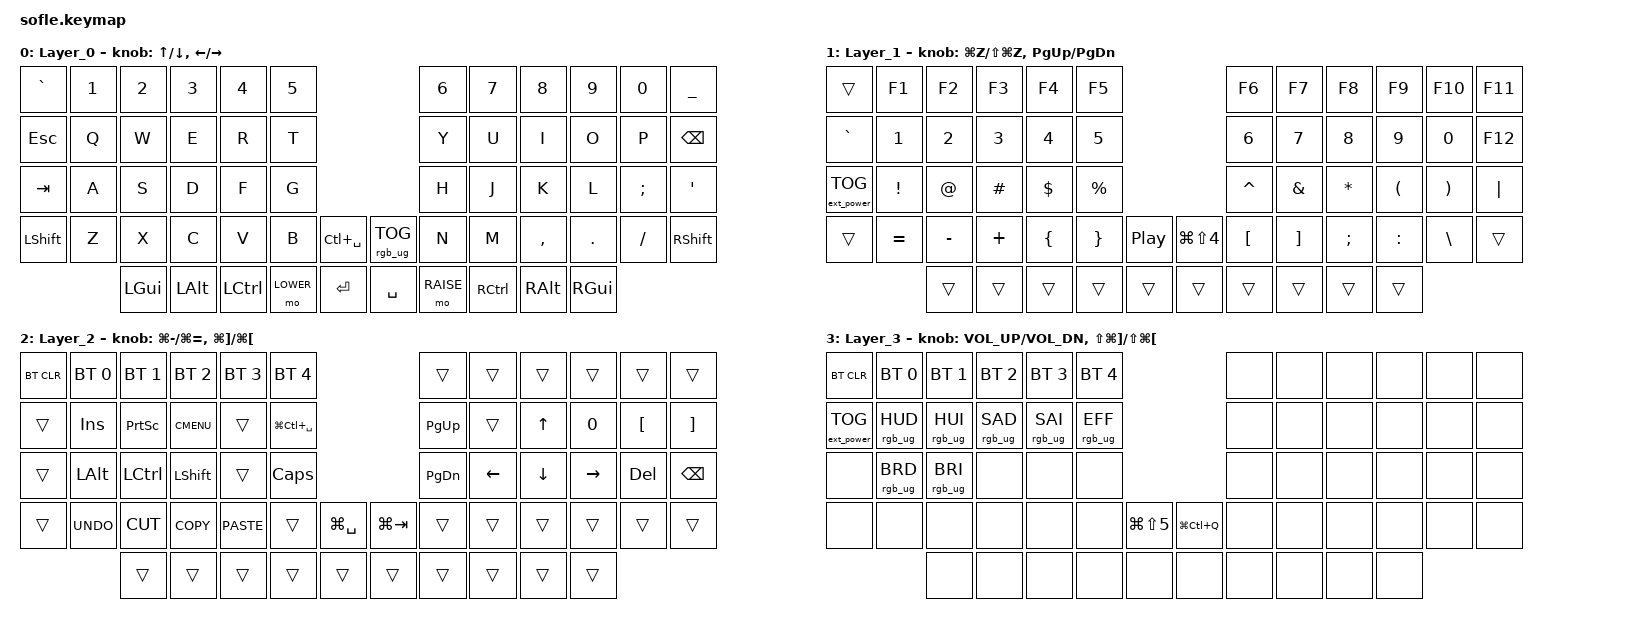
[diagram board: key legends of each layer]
/*
 * Copyright (c) 2020 The ZMK Contributors
 *
 * SPDX-License-Identifier: MIT
 */

#include <behaviors.dtsi>
#include <dt-bindings/zmk/bt.h>
#include <dt-bindings/zmk/ext_power.h>
#include <dt-bindings/zmk/keys.h>
#include <dt-bindings/zmk/rgb.h>

#define BASE 0
#define LOWER 1
#define RAISE 2
#define ADJUST 3

/ {
    // Activate ADJUST layer by pressing raise and lower

    conditional_layers {
        compatible = "zmk,conditional-layers";

        adjust_layer {
            if-layers = <LOWER RAISE>;
            then-layer = <ADJUST>;
        };
    };

    keymap {
        compatible = "zmk,keymap";

        default_layer {
            // ------------------------------------------------------------------------------------------------------------
            // |   `   |  1  |  2  |  3   |  4   |  5   |                   |  6   |  7    |  8    |  9   |   0   |  _    |
            // |  ESC  |  Q  |  W  |  E   |  R   |  T   |                   |  Y   |  U    |  I    |  O   |   P   | BKSPC |
            // |  TAB  |  A  |  S  |  D   |  F   |  G   |                   |  H   |  J    |  K    |  L   |   ;   |   '   |
            // | SHIFT |  Z  |  X  |  C   |  V   |  B   |  MUTE  |  |       |  N   |  M    |  ,    |  .   |   /   | SHIFT |
            //               | GUI | ALT  | CTRL | LOWER|  ENTER |  | SPACE | RAISE| CTRL  | ALT   | GUI  |
            display-name = "Layer_0";
            bindings = <
&kp GRAVE  &kp N1  &kp N2    &kp N3    &kp N4     &kp N5                                    &kp N6     &kp N7     &kp N8     &kp N9    &kp N0    &kp UNDER
&kp ESC    &kp Q   &kp W     &kp E     &kp R      &kp T                                     &kp Y      &kp U      &kp I      &kp O     &kp P     &kp BSPC
&kp TAB    &kp A   &kp S     &kp D     &kp F      &kp G                                     &kp H      &kp J      &kp K      &kp L     &kp SEMI  &kp SQT
&kp LSHFT  &kp Z   &kp X     &kp C     &kp V      &kp B      &kp LC(SPACE) &rgb_ug RGB_TOG  &kp N      &kp M      &kp COMMA  &kp DOT   &kp FSLH  &kp RSHFT
                   &kp LGUI  &kp LALT  &kp LCTRL  &mo LOWER  &kp RET       &kp SPACE        &mo RAISE  &kp RCTRL  &kp RALT   &kp RGUI
            >;

            sensor-bindings = <&inc_dec_kp UP DOWN &inc_dec_kp LEFT RIGHT>;
        };

        lower_layer {
            // TODO: Some binds are waiting for shifted keycode support.
            // ------------------------------------------------------------------------------------------------------------
            // |       |  F1 |  F2 |  F3  |  F4  |  F5  |                           |  F6  |  F7   |  F8   |  F9  |  F10  |  F11  |
            // |   `   |  1  |  2  |  3   |  4   |  5   |                           |  6   |  7    |  8    |  9   |   0   |  F12  |
            // |       |  !  |  @  |  #   |  $   |  %   |                           |  ^   |  &    |  *    |  (   |   )   |   |   |
            // |       |  =  |  -  |  +   |  {   |  }   | Play/Pause | ScreenShot   |  [   |  ]    |  ;    |  :   |   \   |       |
            //               |     |      |      |      |            |              |      |       |       |      |       |
            display-name = "Layer_1";
            bindings = <
&trans             &kp F1     &kp F2     &kp F3    &kp F4    &kp F5                       &kp F6     &kp F7    &kp F8     &kp F9     &kp F10   &kp F11
&kp GRAVE          &kp N1     &kp N2     &kp N3    &kp N4    &kp N5                       &kp N6     &kp N7    &kp N8     &kp N9     &kp N0    &kp F12
&ext_power EP_TOG  &kp EXCL   &kp AT     &kp HASH  &kp DLLR  &kp PRCNT                    &kp CARET  &kp AMPS  &kp ASTRK  &kp LPAR   &kp RPAR  &kp PIPE
&trans             &kp EQUAL  &kp MINUS  &kp PLUS  &kp LBRC  &kp RBRC   &kp C_PP    &kp LG(LS(N4))  &kp LBKT   &kp RBKT  &kp SEMI   &kp COLON  &kp BSLH  &trans
                              &trans     &trans    &trans    &trans     &trans    &trans  &trans     &trans    &trans     &trans
            >;

            sensor-bindings = <&inc_dec_kp LG(Z) LS(LG(Z)) &inc_dec_kp PG_UP PG_DN>;

        };

        raise_layer {
            // --------------------------------------------------------------------------------------------------------------------
            // | BTCLR | BT1  | BT2  |  BT3  |  BT4  |  BT5 |                        |      |      |       |      |       |       |
            // |       | INS  | PSCR | GUI   |       |      |                        | PGUP |      |   ^   |      |    [  |   ]   |
            // |       | ALT  | CTRL | SHIFT |       | CAPS |                        | PGDN |   <- |   v   |  ->  |  DEL  | BKSPC |
            // |       | UNDO | CUT  | COPY  | PASTE |      | SPOTLIGHT || APP SWTCH |      |      |       |      |       |       |
            //                |      |       |       |      |           ||           |      |      |       |      |
            display-name = "Layer_2";
            bindings = <
&bt BT_CLR  &bt BT_SEL 0  &bt BT_SEL 1  &bt BT_SEL 2  &bt BT_SEL 3  &bt BT_SEL 4                    &trans     &trans    &trans    &trans     &trans     &trans
&trans      &kp INS       &kp PSCRN     &kp K_CMENU   &trans        &kp LG(LC(SPACE))               &kp PG_UP  &trans    &kp UP    &kp N0     &kp LBKT   &kp RBKT
&trans      &kp LALT      &kp LCTRL     &kp LSHFT     &trans        &kp CLCK                        &kp PG_DN  &kp LEFT  &kp DOWN  &kp RIGHT  &kp DEL    &kp BSPC
&trans      &kp K_UNDO    &kp K_CUT     &kp K_COPY    &kp K_PASTE   &trans        &kp LG(SPACE)    &kp LG(TAB)  &trans     &trans    &trans    &trans    &trans   &trans
                          &trans        &trans        &trans        &trans        &trans    &trans  &trans     &trans    &trans    &trans
            >;

            sensor-bindings = <&inc_dec_kp LG(MINUS) LG(EQUAL) &inc_dec_kp LG(RBKT) LG(LBKT)>;
        };

        adjust_layer {
            // -----------------------------------------------------------------------------------------------------------------------------------
            // | BTCLR  |  BT1    |  BT2    |   BT3   |   BT4   |   BT5   |                         |      |      |       |      |       |       |
            // | EXTPWR | RGB_HUD | RGB_HUI | RGB_SAD | RGB_SAI | RGB_EFF |                         |      |      |       |      |       |       |
            // |        | RGB_BRD | RGB_BRI |         |         |         |                         |      |      |       |      |       |       |
            // |        |         |         |         |         |         | Scrvideo  | |  Srclck   |      |      |       |      |       |       |
            //                    |         |         |         |         |           | |           |      |      |       |      |
            display-name = "Layer_3";
            bindings = <
&bt BT_CLR         &bt BT_SEL 0     &bt BT_SEL 1     &bt BT_SEL 2     &bt BT_SEL 3     &bt BT_SEL 4                     &none  &none  &none  &none  &none  &none
&ext_power EP_TOG  &rgb_ug RGB_HUD  &rgb_ug RGB_HUI  &rgb_ug RGB_SAD  &rgb_ug RGB_SAI  &rgb_ug RGB_EFF                  &none  &none  &none  &none  &none  &none
&none              &rgb_ug RGB_BRD  &rgb_ug RGB_BRI  &none            &none            &none                            &none  &none  &none  &none  &none  &none
&none              &none            &none            &none            &none            &none            &kp LG(LS(N5))    &kp LG(LC(Q))  &none  &none  &none  &none  &none  &none
                                    &none            &none            &none            &none            &none    &none  &none  &none  &none  &none
            >;
            sensor-bindings = <&inc_dec_kp C_VOL_UP C_VOL_DN &inc_dec_kp LS(LG(RBKT)) LS(LG(LBKT))>;
        };

        extra1 { status = "reserved"; };

        extra2 { status = "reserved"; };

        extra3 { status = "reserved"; };

        extra4 { status = "reserved"; };
    };
};
